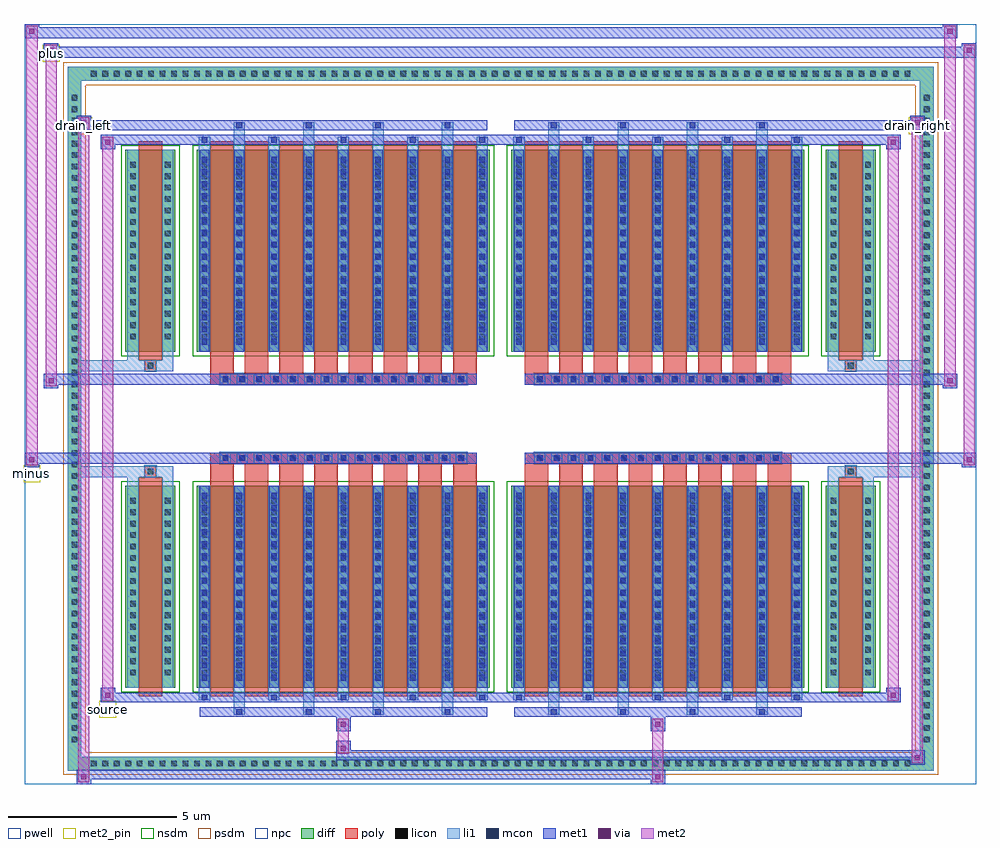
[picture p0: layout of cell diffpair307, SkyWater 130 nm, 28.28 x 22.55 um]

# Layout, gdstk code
import gdstk
lib = gdstk.Library(unit=1e-6, precision=5e-09)
def R(c, l, rs):  # rectangles x0, y0, x1, y1
    for r in rs: c.add(gdstk.rectangle(r[:2], r[2:], *l))
def A(c, l, x, y, w, h, nx, ny, dx, dy):  # array of equal rectangles
    R(c, l, [(x+i*dx, y+j*dy, x+i*dx+w, y+j*dy+h) for i in range(nx) for j in range(ny)])
def P(c, l, *ps):  # polygons
    for p in ps: c.add(gdstk.Polygon(p, *l))
pwell = (64, 44)
diff = (65, 20)
poly = (66, 20)
licon = (66, 44)
li1 = (67, 20)
mcon = (67, 44)
met1 = (68, 20)
via = (68, 44)
met2_pin = (69, 16)
met2 = (69, 20)
nsdm = (93, 44)
psdm = (94, 20)
npc = (95, 20)

diffpair307 = lib.new_cell('diffpair307')
R(diffpair307, pwell, [(-14.12,-10.84,14.12,11.71), (-11.44,-9.03,-0.01,-0.805), (0.01,-9.03,11.44,-0.805), (-11.44,0.805,-0.01,9.03), (0.01,0.805,11.44,9.03)])
A(diffpair307, diff, -12.275, -10.44, 0.41, 0.41, 72, 2, 0.34, 20.47)
A(diffpair307, diff, -12.85, -9.725, 0.41, 0.41, 1, 57, 0, 0.34)
A(diffpair307, diff, 12.44, -9.725, 0.41, 0.41, 1, 57, 0, 0.34)
R(diffpair307, diff, [(-12.275,-10.44,12.275,-10.03), (-12.85,-9.725,-12.44,9.725), (12.44,-9.725,12.85,9.725), (-11.13,-7.985,-9.65,-1.985), (-9.01,-7.985,-0.32,-1.985), (0.32,-7.985,9.01,-1.985), (9.65,-7.985,11.13,-1.985), (-11.13,1.985,-9.65,7.985), (-9.01,1.985,-0.32,7.985), (0.32,1.985,9.01,7.985), (9.65,1.985,11.13,7.985), (-12.275,10.03,12.275,10.44)])
P(diffpair307, diff, [(12.85,10.44),(-12.85,10.44),(-12.85,-10.03),(-12.44,-10.03),(-12.44,10.03),(12.44,10.03),(12.44,-10.03),(-12.44,-10.03),(-12.85,-10.03),(-12.85,-10.44),(12.85,-10.44)])
A(diffpair307, poly, -8.62, -8.235, 0.7, 6.5, 8, 2, 1.03, 9.97)
A(diffpair307, poly, 0.71, -8.235, 0.7, 6.5, 8, 2, 1.03, 9.97)
A(diffpair307, poly, -8.62, -1.735, 0.7, 0.4, 8, 2, 1.03, 3.07)
A(diffpair307, poly, 0.71, -1.735, 0.7, 0.4, 8, 2, 1.03, 3.07)
A(diffpair307, poly, -8.33, -1.335, 0.33, 0.33, 15, 2, 0.5, 2.34)
A(diffpair307, poly, 1, -1.335, 0.33, 0.33, 15, 2, 0.5, 2.34)
R(diffpair307, poly, [(-10.74,-8.235,-10.04,-1.735), (10.04,-8.235,10.74,-1.735), (-10.555,-1.735,-10.225,-1.405), (-10.555,-1.735,-10.225,-1.405), (10.225,-1.735,10.555,-1.405), (10.225,-1.735,10.555,-1.405), (-8.62,-1.335,-0.71,-1.005), (0.71,-1.335,8.62,-1.005), (-8.62,1.005,-0.71,1.335), (0.71,1.005,8.62,1.335), (-10.555,1.405,-10.225,1.735), (-10.555,1.405,-10.225,1.735), (10.225,1.405,10.555,1.735), (10.225,1.405,10.555,1.735), (-10.74,1.735,-10.04,8.235), (10.04,1.735,10.74,8.235)])
A(diffpair307, licon, -12.155, -10.32, 0.17, 0.17, 72, 2, 0.34, 20.47)
A(diffpair307, licon, -12.73, -9.605, 0.17, 0.17, 1, 57, 0, 0.34)
A(diffpair307, licon, 12.56, -9.605, 0.17, 0.17, 1, 57, 0, 0.34)
A(diffpair307, licon, -10.99, -7.62, 0.17, 0.17, 1, 16, 0, 0.34)
A(diffpair307, licon, -9.96, -7.62, 0.17, 0.17, 1, 16, 0, 0.34)
A(diffpair307, licon, -8.87, -7.62, 0.17, 0.17, 9, 16, 1.03, 0.34)
A(diffpair307, licon, 0.46, -7.62, 0.17, 0.17, 9, 16, 1.03, 0.34)
A(diffpair307, licon, 9.79, -7.62, 0.17, 0.17, 1, 16, 0, 0.34)
A(diffpair307, licon, 10.82, -7.62, 0.17, 0.17, 1, 16, 0, 0.34)
A(diffpair307, licon, -8.25, -1.255, 0.17, 0.17, 15, 2, 0.5, 2.34)
A(diffpair307, licon, 1.08, -1.255, 0.17, 0.17, 15, 2, 0.5, 2.34)
A(diffpair307, licon, -10.99, 2.35, 0.17, 0.17, 1, 16, 0, 0.34)
A(diffpair307, licon, -9.96, 2.35, 0.17, 0.17, 1, 16, 0, 0.34)
A(diffpair307, licon, -8.87, 2.35, 0.17, 0.17, 9, 16, 1.03, 0.34)
A(diffpair307, licon, 0.46, 2.35, 0.17, 0.17, 9, 16, 1.03, 0.34)
A(diffpair307, licon, 9.79, 2.35, 0.17, 0.17, 1, 16, 0, 0.34)
A(diffpair307, licon, 10.82, 2.35, 0.17, 0.17, 1, 16, 0, 0.34)
R(diffpair307, licon, [(-10.475,-1.655,-10.305,-1.485), (10.305,-1.655,10.475,-1.485), (-10.475,1.485,-10.305,1.655), (10.305,1.485,10.475,1.655)])
A(diffpair307, li1, -12.235, -10.4, 0.33, 0.33, 72, 2, 0.34, 20.47)
A(diffpair307, li1, -12.81, -9.685, 0.33, 0.33, 1, 57, 0, 0.34)
A(diffpair307, li1, 12.48, -9.685, 0.33, 0.33, 1, 57, 0, 0.34)
A(diffpair307, li1, -7.92, -8.79, 0.33, 0.805, 4, 2, 2.06, 16.775)
A(diffpair307, li1, -7.84, -8.79, 0.17, 0.17, 4, 2, 2.06, 17.41)
A(diffpair307, li1, 1.41, -8.79, 0.33, 0.805, 4, 2, 2.06, 16.775)
A(diffpair307, li1, 1.49, -8.79, 0.17, 0.17, 4, 2, 2.06, 17.41)
A(diffpair307, li1, -8.95, -8.36, 0.33, 0.375, 5, 2, 2.06, 16.345)
A(diffpair307, li1, -8.87, -8.36, 0.17, 0.17, 5, 2, 2.06, 16.55)
A(diffpair307, li1, 0.38, -8.36, 0.33, 0.375, 5, 2, 2.06, 16.345)
A(diffpair307, li1, 0.46, -8.36, 0.17, 0.17, 5, 2, 2.06, 16.55)
A(diffpair307, li1, -8.95, -7.985, 0.33, 6, 9, 2, 1.03, 9.97)
A(diffpair307, li1, 0.38, -7.985, 0.33, 6, 9, 2, 1.03, 9.97)
A(diffpair307, li1, -8.87, -7.77, 0.17, 0.17, 9, 16, 1.03, 0.36)
A(diffpair307, li1, -8.87, -7.77, 0.17, 5.57, 9, 2, 1.03, 9.97)
A(diffpair307, li1, 0.46, -7.77, 0.17, 0.17, 9, 16, 1.03, 0.36)
A(diffpair307, li1, 0.46, -7.77, 0.17, 5.57, 9, 2, 1.03, 9.97)
A(diffpair307, li1, -11.07, -7.7, 0.33, 0.33, 1, 16, 0, 0.34)
A(diffpair307, li1, -10.04, -7.7, 0.33, 0.33, 1, 16, 0, 0.34)
A(diffpair307, li1, -8.95, -7.7, 0.33, 0.33, 9, 16, 1.03, 0.34)
A(diffpair307, li1, 0.38, -7.7, 0.33, 0.33, 9, 16, 1.03, 0.34)
A(diffpair307, li1, 9.71, -7.7, 0.33, 0.33, 1, 16, 0, 0.34)
A(diffpair307, li1, 10.74, -7.7, 0.33, 0.33, 1, 16, 0, 0.34)
A(diffpair307, li1, -8.33, -1.335, 0.33, 0.33, 15, 2, 0.5, 2.34)
A(diffpair307, li1, 1, -1.335, 0.33, 0.33, 15, 2, 0.5, 2.34)
A(diffpair307, li1, -8.87, 2.2, 0.17, 0.17, 9, 16, 1.03, 0.36)
A(diffpair307, li1, 0.46, 2.2, 0.17, 0.17, 9, 16, 1.03, 0.36)
A(diffpair307, li1, -11.07, 2.27, 0.33, 0.33, 1, 16, 0, 0.34)
A(diffpair307, li1, -10.04, 2.27, 0.33, 0.33, 1, 16, 0, 0.34)
A(diffpair307, li1, -8.95, 2.27, 0.33, 0.33, 9, 16, 1.03, 0.34)
A(diffpair307, li1, 0.38, 2.27, 0.33, 0.33, 9, 16, 1.03, 0.34)
A(diffpair307, li1, 9.71, 2.27, 0.33, 0.33, 1, 16, 0, 0.34)
A(diffpair307, li1, 10.74, 2.27, 0.33, 0.33, 1, 16, 0, 0.34)
R(diffpair307, li1, [(-12.85,-10.44,-12.44,-10.03), (-12.85,-10.44,-12.44,-10.03), (-12.44,-10.44,12.44,-10.03), (12.44,-10.44,12.85,-10.03), (12.44,-10.44,12.85,-10.03), (-12.85,-10.03,-12.44,10.03), (12.44,-10.03,12.85,10.03), (-11.07,-7.985,-10.74,-1.985), (-10.04,-7.985,-9.71,-1.985), (9.71,-7.985,10.04,-1.985), (10.74,-7.985,11.07,-1.985), (-11.07,-1.985,-10.74,-1.405), (-10.04,-1.985,-9.71,-1.405), (9.71,-1.985,10.04,-1.405), (10.74,-1.985,11.07,-1.405), (-12.85,-1.735,-10.555,-1.405), (-11.07,-1.735,-10.555,-1.405), (-10.555,-1.735,-10.225,-1.405), (-10.225,-1.735,-9.71,-1.405), (9.71,-1.735,10.225,-1.405), (10.225,-1.735,10.555,-1.405), (10.225,-1.735,12.85,-1.405), (10.555,-1.735,11.07,-1.405), (-12.85,1.405,-10.555,1.735), (-11.07,1.405,-10.555,1.735), (-11.07,1.405,-10.74,1.985), (-10.555,1.405,-10.225,1.735), (-10.225,1.405,-9.71,1.735), (-10.04,1.405,-9.71,1.985), (9.71,1.405,10.225,1.735), (9.71,1.405,10.04,1.985), (10.225,1.405,10.555,1.735), (10.225,1.405,12.85,1.735), (10.555,1.405,11.07,1.735), (10.74,1.405,11.07,1.985), (-11.07,1.985,-10.74,7.985), (-10.04,1.985,-9.71,7.985), (9.71,1.985,10.04,7.985), (10.74,1.985,11.07,7.985), (-12.85,10.03,-12.44,10.44), (-12.85,10.03,-12.44,10.44), (-12.44,10.03,12.44,10.44), (12.44,10.03,12.85,10.44), (12.44,10.03,12.85,10.44)])
A(diffpair307, mcon, -7.84, -8.79, 0.17, 0.17, 4, 2, 2.06, 17.41)
A(diffpair307, mcon, 1.49, -8.79, 0.17, 0.17, 4, 2, 2.06, 17.41)
A(diffpair307, mcon, -8.87, -8.36, 0.17, 0.17, 5, 2, 2.06, 16.55)
A(diffpair307, mcon, 0.46, -8.36, 0.17, 0.17, 5, 2, 2.06, 16.55)
A(diffpair307, mcon, -8.87, -7.77, 0.17, 0.17, 9, 16, 1.03, 0.36)
A(diffpair307, mcon, 0.46, -7.77, 0.17, 0.17, 9, 16, 1.03, 0.36)
A(diffpair307, mcon, -8.25, -1.255, 0.17, 0.17, 15, 2, 0.5, 2.34)
A(diffpair307, mcon, 1.08, -1.255, 0.17, 0.17, 15, 2, 0.5, 2.34)
A(diffpair307, mcon, -8.87, 2.2, 0.17, 0.17, 9, 16, 1.03, 0.36)
A(diffpair307, mcon, 0.46, 2.2, 0.17, 0.17, 9, 16, 1.03, 0.36)
A(diffpair307, met1, -7.9, -8.85, 0.29, 0.29, 4, 2, 2.06, 17.41)
A(diffpair307, met1, 1.43, -8.85, 0.29, 0.29, 4, 2, 2.06, 17.41)
A(diffpair307, met1, -8.93, -8.42, 0.29, 0.29, 5, 2, 2.06, 16.55)
A(diffpair307, met1, 0.4, -8.42, 0.29, 0.29, 5, 2, 2.06, 16.55)
A(diffpair307, met1, -8.93, -7.985, 0.29, 6, 9, 2, 1.03, 9.97)
A(diffpair307, met1, 0.4, -7.985, 0.29, 6, 9, 2, 1.03, 9.97)
A(diffpair307, met1, -8.93, -7.83, 0.29, 0.29, 9, 16, 1.03, 0.36)
A(diffpair307, met1, 0.4, -7.83, 0.29, 0.29, 9, 16, 1.03, 0.36)
A(diffpair307, met1, -8.31, -1.315, 0.29, 0.29, 15, 2, 0.5, 2.34)
A(diffpair307, met1, 1.02, -1.315, 0.29, 0.29, 15, 2, 0.5, 2.34)
A(diffpair307, met1, -8.93, 2.14, 0.29, 0.29, 9, 16, 1.03, 0.36)
A(diffpair307, met1, 0.4, 2.14, 0.29, 0.29, 9, 16, 1.03, 0.36)
R(diffpair307, met1, [(-12.58,-10.84,-12.15,-10.41), (4.45,-10.84,4.88,-10.41), (-12.58,-10.7,4.88,-10.41), (12.15,-10.27,12.58,-9.84), (-4.88,-10.13,12.58,-9.84), (-4.88,-9.99,-4.45,-9.56), (-4.88,-9.28,-4.45,-8.85), (4.45,-9.28,4.88,-8.85), (-8.93,-8.85,-0.4,-8.56), (0.4,-8.85,8.93,-8.56), (-11.87,-8.42,-11.44,-7.99), (-11.87,-8.42,-8.93,-8.13), (-8.93,-8.42,-0.4,-8.13), (-0.4,-8.42,0.4,-8.13), (0.4,-8.42,8.93,-8.13), (8.93,-8.42,11.87,-8.13), (11.44,-8.42,11.87,-7.99), (-14.12,-1.435,-13.69,-1.005), (13.69,-1.435,14.12,-1.005), (-14.12,-1.335,-0.71,-1.005), (-8.62,-1.335,-0.71,-1.005), (0.71,-1.335,8.62,-1.005), (0.71,-1.335,14.12,-1.005), (-13.55,0.905,-13.12,1.335), (13.12,0.905,13.55,1.335), (-13.55,1.005,-8.62,1.335), (-8.62,1.005,-0.71,1.335), (0.71,1.005,8.62,1.335), (8.62,1.005,13.55,1.335), (-11.87,7.99,-11.44,8.42), (11.44,7.99,11.87,8.42), (-11.87,8.13,-8.93,8.42), (-8.93,8.13,-0.4,8.42), (-0.4,8.13,0.4,8.42), (0.4,8.13,8.93,8.42), (8.93,8.13,11.87,8.42), (-12.58,8.56,-12.15,8.99), (-12.58,8.56,-8.93,8.85), (-8.93,8.56,-0.4,8.85), (0.4,8.56,8.93,8.85), (8.93,8.56,12.58,8.85), (12.15,8.56,12.58,8.99), (-13.55,10.71,-13.12,11.14), (-13.55,10.71,-11.44,11.04), (-11.44,10.71,11.44,11.04), (11.44,10.71,14.12,11.04), (13.69,10.71,14.12,11.14), (-14.12,11.28,-13.69,11.71), (-14.12,11.28,-11.44,11.61), (-11.44,11.28,11.44,11.61), (11.44,11.28,13.55,11.61), (13.12,11.28,13.55,11.71)])
R(diffpair307, via, [(-12.44,-10.7,-12.29,-10.55), (4.59,-10.7,4.74,-10.55), (12.29,-10.13,12.44,-9.98), (-4.74,-9.85,-4.59,-9.7), (-4.74,-9.14,-4.59,-8.99), (4.59,-9.14,4.74,-8.99), (-11.73,-8.28,-11.58,-8.13), (11.58,-8.28,11.73,-8.13), (-13.98,-1.295,-13.83,-1.145), (13.83,-1.295,13.98,-1.145), (-13.41,1.045,-13.26,1.195), (13.26,1.045,13.41,1.195), (-11.73,8.13,-11.58,8.28), (11.58,8.13,11.73,8.28), (-12.44,8.7,-12.29,8.85), (12.29,8.7,12.44,8.85), (-13.41,10.85,-13.26,11), (13.83,10.85,13.98,11), (-13.98,11.42,-13.83,11.57), (13.26,11.42,13.41,11.57)])
R(diffpair307, met2_pin, [(-11.905,-8.87,-11.405,-8.37), (-14.155,-1.885,-13.655,-1.385), (-12.615,8.44,-12.115,8.94), (12.115,8.44,12.615,8.94), (-13.585,10.59,-13.085,11.09)])
R(diffpair307, met2, [(-12.53,-10.79,-12.2,-10.46), (-12.53,-10.79,-12.2,8.94), (4.5,-10.79,4.83,-10.46), (4.5,-10.46,4.83,-9.23), (12.2,-10.22,12.53,-9.89), (12.2,-10.22,12.53,8.94), (-4.83,-9.94,-4.5,-9.61), (-4.83,-9.61,-4.5,-9.23), (-4.83,-9.23,-4.5,-8.9), (4.5,-9.23,4.83,-8.9), (-11.82,-8.37,-11.49,-8.04), (-11.82,-8.37,-11.49,8.37), (11.49,-8.37,11.82,-8.04), (11.49,-8.37,11.82,8.37), (-14.07,-1.385,-13.74,-1.055), (-14.07,-1.385,-13.74,11.66), (13.74,-1.385,14.07,-1.055), (13.74,-1.385,14.07,11.09), (-13.5,0.955,-13.17,1.285), (-13.5,0.955,-13.17,11.09), (13.17,0.955,13.5,1.285), (13.17,0.955,13.5,11.66), (-11.82,8.04,-11.49,8.37), (11.49,8.04,11.82,8.37), (-12.53,8.61,-12.2,8.94), (12.2,8.61,12.53,8.94), (-13.5,10.76,-13.17,11.09), (13.74,10.76,14.07,11.09), (-14.07,11.33,-13.74,11.66), (13.17,11.33,13.5,11.66)])
P(diffpair307, met2, [(14.07,-1.385),(14.07,-1.385),(14.07,-1.055),(14.07,-1.055)],
  [(14.07,10.76),(14.07,10.76),(14.07,11.09),(14.07,11.09)],
  [(-13.74,-1.385),(-13.74,-1.385),(-13.74,-1.055),(-13.74,-1.055)],
  [(-13.74,11.33),(-13.74,11.33),(-13.74,11.66),(-13.74,11.66)],
  [(13.5,0.955),(13.5,0.955),(13.5,1.285),(13.5,1.285)],
  [(13.5,11.33),(13.5,11.33),(13.5,11.66),(13.5,11.66)],
  [(-13.17,0.955),(-13.17,0.955),(-13.17,1.285),(-13.17,1.285)],
  [(-13.17,10.76),(-13.17,10.76),(-13.17,11.09),(-13.17,11.09)],
  [(-12.2,-10.79),(-12.2,-10.79),(-12.2,-10.46),(-12.2,-10.46)],
  [(-12.2,8.61),(-12.2,8.61),(-12.2,8.94),(-12.2,8.94)],
  [(12.53,-10.22),(12.53,-10.22),(12.53,-9.89),(12.53,-9.89)],
  [(12.53,8.61),(12.53,8.61),(12.53,8.94),(12.53,8.94)],
  [(-11.49,-8.37),(-11.49,-8.37),(-11.49,-8.04),(-11.49,-8.04)],
  [(-11.49,8.04),(-11.49,8.04),(-11.49,8.37),(-11.49,8.37)],
  [(11.82,-8.37),(11.82,-8.37),(11.82,-8.04),(11.82,-8.04)],
  [(11.82,8.04),(11.82,8.04),(11.82,8.37),(11.82,8.37)])
R(diffpair307, nsdm, [(-11.26,-8.115,-9.52,-1.855), (-9.14,-8.115,-0.19,-1.855), (0.19,-8.115,9.14,-1.855), (9.52,-8.115,11.26,-1.855), (-11.26,1.855,-9.52,8.115), (-9.14,1.855,-0.19,8.115), (0.19,1.855,9.14,8.115), (9.52,1.855,11.26,8.115)])
P(diffpair307, psdm, [(12.98,10.57),(-12.98,10.57),(-12.98,-9.9),(-12.31,-9.9),(-12.31,9.9),(12.31,9.9),(12.31,-9.9),(-12.31,-9.9),(-12.98,-9.9),(-12.98,-10.57),(12.98,-10.57)])
A(diffpair307, npc, -8.35, -1.355, 0.37, 0.37, 15, 2, 0.5, 2.34)
A(diffpair307, npc, 0.98, -1.355, 0.37, 0.37, 15, 2, 0.5, 2.34)
R(diffpair307, npc, [(-10.575,-1.755,-10.205,-1.385), (10.205,-1.755,10.575,-1.385), (-8.35,-1.355,-7.48,-0.985), (-8.35,-1.355,-7.48,-0.985), (-7.85,-1.355,-6.98,-0.985), (-7.85,-1.355,-6.98,-0.985), (-7.35,-1.355,-6.48,-0.985), (-7.35,-1.355,-6.48,-0.985), (-6.85,-1.355,-5.98,-0.985), (-6.85,-1.355,-5.98,-0.985), (-6.35,-1.355,-5.48,-0.985), (-6.35,-1.355,-5.48,-0.985), (-5.85,-1.355,-4.98,-0.985), (-5.85,-1.355,-4.98,-0.985), (-5.35,-1.355,-4.48,-0.985), (-5.35,-1.355,-4.48,-0.985), (-4.85,-1.355,-3.98,-0.985), (-4.85,-1.355,-3.98,-0.985), (-4.35,-1.355,-3.48,-0.985), (-4.35,-1.355,-3.48,-0.985), (-3.85,-1.355,-2.98,-0.985), (-3.85,-1.355,-2.98,-0.985), (-3.35,-1.355,-2.48,-0.985), (-3.35,-1.355,-2.48,-0.985), (-2.85,-1.355,-1.98,-0.985), (-2.85,-1.355,-1.98,-0.985), (-2.35,-1.355,-1.48,-0.985), (-2.35,-1.355,-1.48,-0.985), (-1.85,-1.355,-0.98,-0.985), (-1.85,-1.355,-0.98,-0.985), (0.98,-1.355,1.85,-0.985), (0.98,-1.355,1.85,-0.985), (1.48,-1.355,2.35,-0.985), (1.48,-1.355,2.35,-0.985), (1.98,-1.355,2.85,-0.985), (1.98,-1.355,2.85,-0.985), (2.48,-1.355,3.35,-0.985), (2.48,-1.355,3.35,-0.985), (2.98,-1.355,3.85,-0.985), (2.98,-1.355,3.85,-0.985), (3.48,-1.355,4.35,-0.985), (3.48,-1.355,4.35,-0.985), (3.98,-1.355,4.85,-0.985), (3.98,-1.355,4.85,-0.985), (4.48,-1.355,5.35,-0.985), (4.48,-1.355,5.35,-0.985), (4.98,-1.355,5.85,-0.985), (4.98,-1.355,5.85,-0.985), (5.48,-1.355,6.35,-0.985), (5.48,-1.355,6.35,-0.985), (5.98,-1.355,6.85,-0.985), (5.98,-1.355,6.85,-0.985), (6.48,-1.355,7.35,-0.985), (6.48,-1.355,7.35,-0.985), (6.98,-1.355,7.85,-0.985), (6.98,-1.355,7.85,-0.985), (7.48,-1.355,8.35,-0.985), (7.48,-1.355,8.35,-0.985), (-8.35,0.985,-7.48,1.355), (-8.35,0.985,-7.48,1.355), (-7.85,0.985,-6.98,1.355), (-7.85,0.985,-6.98,1.355), (-7.35,0.985,-6.48,1.355), (-7.35,0.985,-6.48,1.355), (-6.85,0.985,-5.98,1.355), (-6.85,0.985,-5.98,1.355), (-6.35,0.985,-5.48,1.355), (-6.35,0.985,-5.48,1.355), (-5.85,0.985,-4.98,1.355), (-5.85,0.985,-4.98,1.355), (-5.35,0.985,-4.48,1.355), (-5.35,0.985,-4.48,1.355), (-4.85,0.985,-3.98,1.355), (-4.85,0.985,-3.98,1.355), (-4.35,0.985,-3.48,1.355), (-4.35,0.985,-3.48,1.355), (-3.85,0.985,-2.98,1.355), (-3.85,0.985,-2.98,1.355), (-3.35,0.985,-2.48,1.355), (-3.35,0.985,-2.48,1.355), (-2.85,0.985,-1.98,1.355), (-2.85,0.985,-1.98,1.355), (-2.35,0.985,-1.48,1.355), (-2.35,0.985,-1.48,1.355), (-1.85,0.985,-0.98,1.355), (-1.85,0.985,-0.98,1.355), (0.98,0.985,1.85,1.355), (0.98,0.985,1.85,1.355), (1.48,0.985,2.35,1.355), (1.48,0.985,2.35,1.355), (1.98,0.985,2.85,1.355), (1.98,0.985,2.85,1.355), (2.48,0.985,3.35,1.355), (2.48,0.985,3.35,1.355), (2.98,0.985,3.85,1.355), (2.98,0.985,3.85,1.355), (3.48,0.985,4.35,1.355), (3.48,0.985,4.35,1.355), (3.98,0.985,4.85,1.355), (3.98,0.985,4.85,1.355), (4.48,0.985,5.35,1.355), (4.48,0.985,5.35,1.355), (4.98,0.985,5.85,1.355), (4.98,0.985,5.85,1.355), (5.48,0.985,6.35,1.355), (5.48,0.985,6.35,1.355), (5.98,0.985,6.85,1.355), (5.98,0.985,6.85,1.355), (6.48,0.985,7.35,1.355), (6.48,0.985,7.35,1.355), (6.98,0.985,7.85,1.355), (6.98,0.985,7.85,1.355), (7.48,0.985,8.35,1.355), (7.48,0.985,8.35,1.355), (-10.575,1.385,-10.205,1.755), (10.205,1.385,10.575,1.755)])
diffpair307.add(gdstk.Label('minus', (-13.905,-1.635), layer=69, texttype=5))
diffpair307.add(gdstk.Label('drain_right', (12.365,8.69), layer=69, texttype=5))
diffpair307.add(gdstk.Label('drain_left', (-12.365,8.69), layer=69, texttype=5))
diffpair307.add(gdstk.Label('source', (-11.655,-8.62), layer=69, texttype=5))
diffpair307.add(gdstk.Label('plus', (-13.335,10.84), layer=69, texttype=5))

lib.write_gds('diffpair307.gds')
